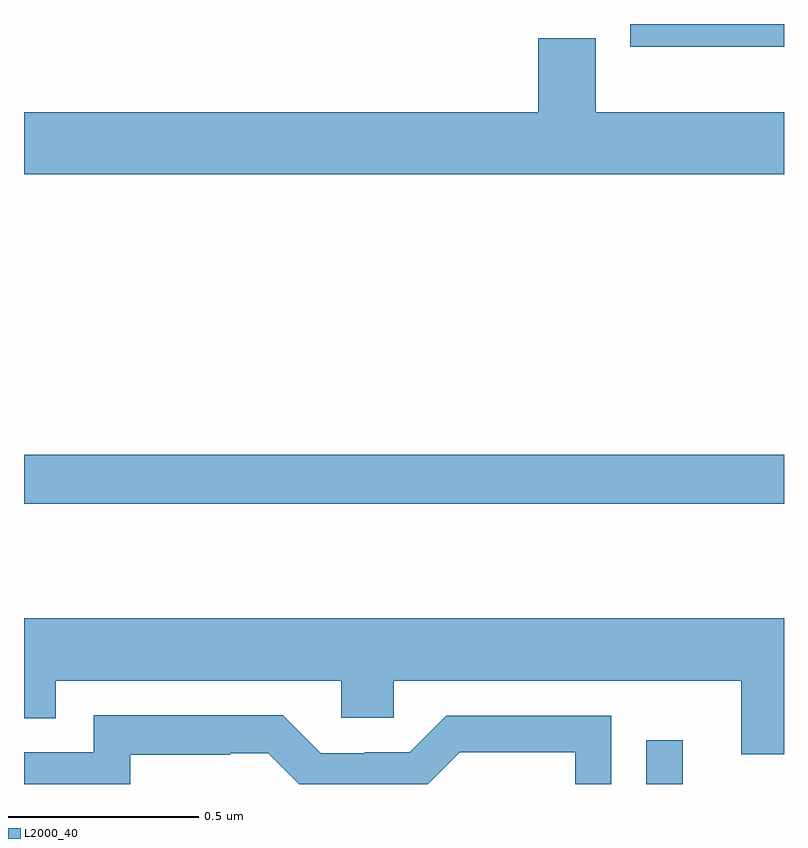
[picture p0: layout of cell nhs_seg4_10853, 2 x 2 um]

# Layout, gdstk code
import gdstk
lib = gdstk.Library(unit=1e-6, precision=1e-09)
def R(c, l, rs):  # rectangles x0, y0, x1, y1
    for r in rs: c.add(gdstk.rectangle(r[:2], r[2:], *l))
def P(c, l, *ps):  # polygons
    for p in ps: c.add(gdstk.Polygon(p, *l))
L2000_40 = (2000, 40)

nhs_seg4_10853 = lib.new_cell('nhs_seg4_10853')
R(nhs_seg4_10853, L2000_40, [(246.637,777.9,246.733,778.015), (245,778.638,247,778.766), (246.596,779.84,247,779.9)])
P(nhs_seg4_10853, L2000_40, [(247,779.668),(246.505,779.668),(246.505,779.863),(246.353,779.863),(246.353,779.668),(245,779.668),(245,779.504),(247,779.504)],
  [(247,778.336),(245,778.336),(245,778.073),(245.083,778.073),(245.083,778.172),(245.835,778.172),(245.835,778.074),(245.973,778.074),(245.973,778.172),(246.887,778.172),(246.887,777.978),(247,777.978)],
  [(245.28,777.977),(245.543,777.977),(245.543,777.981),(245.643,777.981),(245.724,777.9),(246.063,777.9),(246.147,777.984),(246.45,777.984),(246.45,777.9),(246.546,777.9),(246.546,778.08),(246.111,778.08),(246.015,777.984),(245.897,777.984),(245.897,777.981),(245.781,777.981),(245.681,778.081),(245.184,778.081),(245.184,777.984),(245,777.984),(245,777.9),(245.28,777.9)])

lib.write_gds('nhs_seg4_10853.gds')
